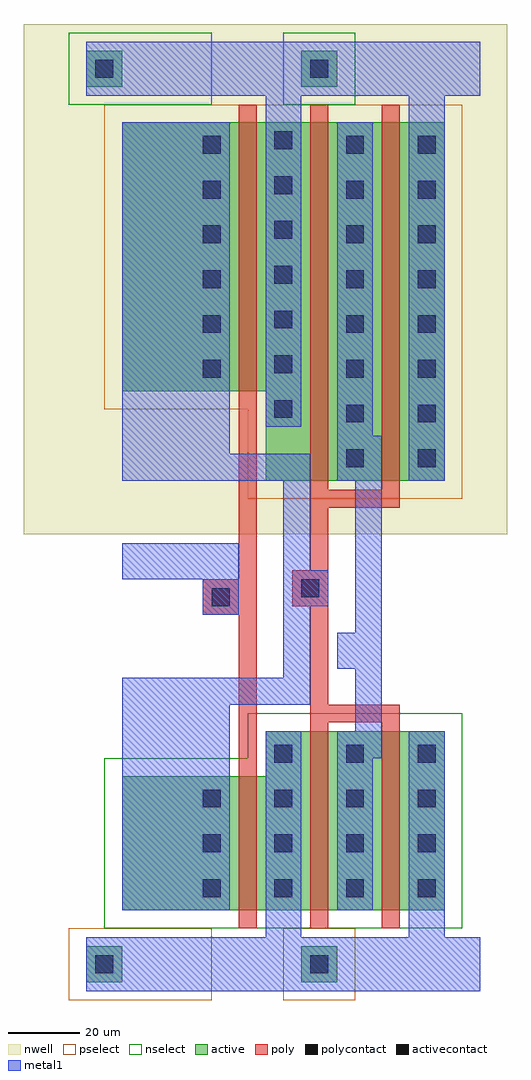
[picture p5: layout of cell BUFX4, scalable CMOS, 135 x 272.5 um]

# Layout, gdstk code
import gdstk
lib = gdstk.Library(unit=1e-6, precision=1e-09)
def R(c, l, rs):  # rectangles x0, y0, x1, y1
    for r in rs: c.add(gdstk.rectangle(r[:2], r[2:], *l))
def A(c, l, x, y, w, h, nx, ny, dx, dy):  # array of equal rectangles
    R(c, l, [(x+i*dx, y+j*dy, x+i*dx+w, y+j*dy+h) for i in range(nx) for j in range(ny)])
nwell = (42, 0)
active = (43, 0)
pselect = (44, 0)
nselect = (45, 0)
poly = (46, 0)
polycontact = (47, 0)
activecontact = (48, 0)
metal1 = (49, 0)

bufx4 = lib.new_cell('BUFX4')
R(bufx4, nwell, [(-22.5,120,112.5,262.5)])
R(bufx4, active, [(-5,-5,5,5), (55,-5,65,5), (5,15,95,52.5), (45,52.5,95,65), (45,135,95,160), (5,160,95,235), (-5,245,5,255), (55,245,65,255)])
R(bufx4, pselect, [(-10,-10,30,10), (50,-10,70,10), (40,130,100,155), (0,155,100,240)])
R(bufx4, nselect, [(0,10,100,57.5), (40,57.5,100,70), (-10,240,30,260), (50,240,70,260)])
R(bufx4, poly, [(37.5,10,42.5,97.5), (57.5,10,62.5,67.5), (77.5,10,82.5,67.5), (57.5,67.5,82.5,72.5), (57.5,72.5,62.5,100), (27.5,97.5,42.5,107.5), (52.5,100,62.5,110), (37.5,107.5,42.5,240), (57.5,110,62.5,127.5), (57.5,127.5,82.5,132.5), (57.5,132.5,62.5,240), (77.5,132.5,82.5,240)])
R(bufx4, polycontact, [(30,100,35,105), (55,102.5,60,107.5)])
A(bufx4, activecontact, 27.5, 18.75, 5, 5, 4, 3, 20, 12.5)
A(bufx4, activecontact, 47.5, 56.25, 5, 5, 3, 1, 20, 0)
A(bufx4, activecontact, 67.5, 138.75, 5, 5, 1, 8, 0, 12.5)
A(bufx4, activecontact, 87.5, 138.75, 5, 5, 1, 8, 0, 12.5)
A(bufx4, activecontact, 47.5, 152.5, 5, 5, 1, 7, 0, 12.5)
A(bufx4, activecontact, 27.5, 163.75, 5, 5, 1, 6, 0, 12.5)
R(bufx4, activecontact, [(-2.5,-2.5,2.5,2.5), (57.5,-2.5,62.5,2.5), (-2.5,247.5,2.5,252.5), (57.5,247.5,62.5,252.5)])
R(bufx4, metal1, [(-5,-7.5,105,7.5), (45,7.5,55,65), (85,7.5,95,65), (5,15,35,72.5), (65,15,75,57.5), (65,57.5,77.5,65), (70,65,77.5,82.5), (5,72.5,57.5,80), (50,80,57.5,100), (65,82.5,77.5,92.5), (70,92.5,77.5,135), (27.5,97.5,37.5,107.5), (50,100,62.5,110), (5,107.5,37.5,117.5), (50,110,57.5,135), (5,135,57.5,142.5), (65,135,77.5,147.5), (85,135,95,242.5), (5,142.5,35,235), (65,147.5,75,235), (45,150,55,242.5), (-5,242.5,105,257.5)])

lib.write_gds('BUFX4.gds')
